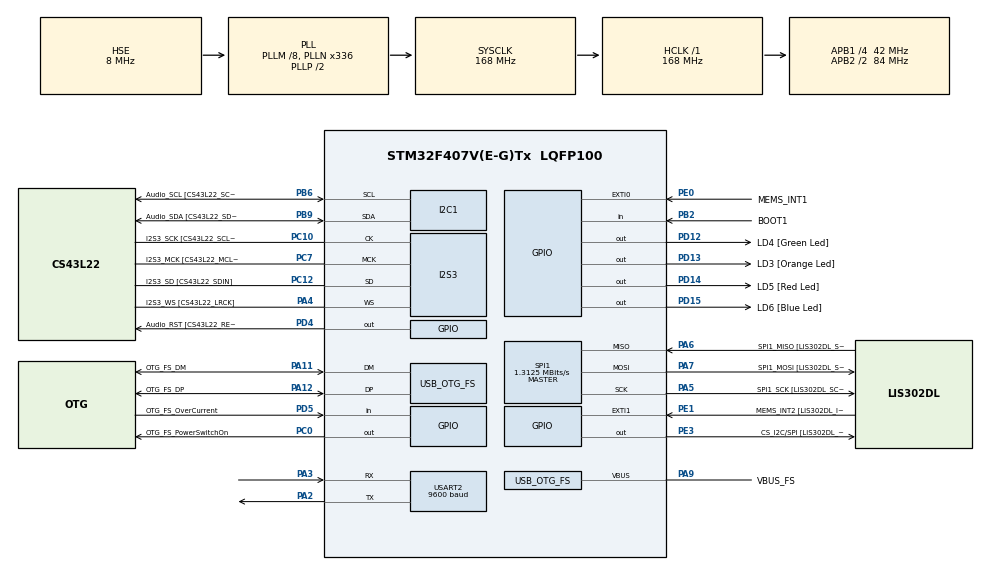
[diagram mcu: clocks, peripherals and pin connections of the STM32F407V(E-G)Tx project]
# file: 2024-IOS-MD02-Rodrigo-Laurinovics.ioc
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Dma.Request0=USART2_RX
Dma.USART2_RX.0.Direction=DMA_PERIPH_TO_MEMORY
Dma.USART2_RX.0.FIFOMode=DMA_FIFOMODE_DISABLE
Dma.USART2_RX.0.Instance=DMA1_Stream5
Dma.USART2_RX.0.MemDataAlignment=DMA_MDATAALIGN_BYTE
Dma.USART2_RX.0.MemInc=DMA_MINC_ENABLE
Dma.USART2_RX.0.Mode=DMA_NORMAL
Dma.USART2_RX.0.PeriphDataAlignment=DMA_PDATAALIGN_BYTE
Dma.USART2_RX.0.PeriphInc=DMA_PINC_DISABLE
Dma.USART2_RX.0.Priority=DMA_PRIORITY_LOW
FREERTOS.Queues01=LIS3DSH_DataScaled,3,LIS3DSH_DataScaled,0,Dynamic,NULL,NULL;LIS3DSH_ProcessedData,3,LIS3DSH_DataScaled,0,Dynamic,NULL,NULL;RTC_Data,3,My_RTC_Data,0,Dynamic,NULL,NULL;CMD_ProcData,3,Command,0,Dynamic,NULL,NULL
FREERTOS.Tasks01=myUserMsg,24,512,MY_User_Message,Default,NULL,Dynamic,NULL,NULL;myRTCTime,8,128,MY_RTC_Time,Default,NULL,Dynamic,NULL,NULL;myGetAccData,8,128,MY_Get_Acc_Data,Default,NULL,Dynamic,NULL,NULL;myIntTask,8,128,my_Int_Task,Default,NULL,Dynamic,NULL,NULL;myfreeRTOSManager,8,128,MY_freeRTOS_Task_Manager,Default,NULL,Dynamic,NULL,NULL;myProcessAccData,8,2096,MY_Process_AccData,Default,NULL,Dynamic,NULL,NULL;myProcessCMD,8,128,MY_Process_CMD,Default,NULL,Dynamic,NULL,NULL
FREERTOS.configGENERATE_RUN_TIME_STATS=1
FREERTOS.configMAX_TASK_NAME_LEN=32
FREERTOS.configTICK_RATE_HZ=1000
FREERTOS.configUSE_IDLE_HOOK=1
FREERTOS.configUSE_NEWLIB_REENTRANT=1
FREERTOS.configUSE_STATS_FORMATTING_FUNCTIONS=1
I2S3.AudioFreq-Half_Duplex_Master=I2S_AUDIOFREQ_96K
I2S3.ErrorAudioFreq=-2.34 %
I2S3.ErrorAudioFreq-Half_Duplex_Master=0.8 %
I2S3.FullDuplexMode=I2S_FULLDUPLEXMODE_DISABLE
I2S3.Instance=SPI$Index
I2S3.RealAudioFreq=93.75 KHz
I2S3.RealAudioFreq-Half_Duplex_Master=96.774 KHz
I2S3.VirtualMode=I2S_MODE_MASTER
Mcu.Family=STM32F4
Mcu.Name=STM32F407V(E-G)Tx
Mcu.Package=LQFP100
NVIC.DMA1_Stream5_IRQn=true\:5\:0\:false\:false\:true\:true\:false\:true\:true
NVIC.EXTI0_IRQn=true\:5\:0\:false\:false\:true\:false\:true\:true\:true
NVIC.OTG_FS_IRQn=true\:5\:0\:false\:false\:true\:true\:true\:true\:true
NVIC.PriorityGroup=NVIC_PRIORITYGROUP_4
NVIC.TIM2_IRQn=true\:5\:0\:false\:false\:true\:true\:true\:true\:true
NVIC.TIM3_IRQn=true\:5\:0\:false\:false\:true\:true\:true\:true\:true
NVIC.TIM6_DAC_IRQn=true\:15\:0\:false\:false\:true\:false\:false\:true\:true
NVIC.TimeBase=TIM6_DAC_IRQn
NVIC.TimeBaseIP=TIM6
NVIC.USART2_IRQn=true\:5\:0\:false\:false\:true\:true\:true\:true\:true
PA10.GPIO_Label=OTG_FS_ID
PA10.GPIO_Mode=GPIO_MODE_AF_PP
PA10.GPIO_PuPd=GPIO_NOPULL
PA10.GPIO_Speed=GPIO_SPEED_FREQ_LOW
PA10.Signal=USB_OTG_FS_ID
PA11.GPIO_Label=OTG_FS_DM
PA11.GPIO_Mode=GPIO_MODE_AF_PP
PA11.GPIO_PuPd=GPIO_NOPULL
PA11.GPIO_Speed=GPIO_SPEED_FREQ_LOW
PA11.Mode=Host_Only
PA11.Signal=USB_OTG_FS_DM
PA12.GPIO_Label=OTG_FS_DP
PA12.GPIO_Mode=GPIO_MODE_AF_PP
PA12.GPIO_PuPd=GPIO_NOPULL
PA12.GPIO_Speed=GPIO_SPEED_FREQ_LOW
PA12.Mode=Host_Only
PA12.Signal=USB_OTG_FS_DP
PA13.GPIO_Label=SWDIO
PA13.Mode=Serial_Wire
PA13.Signal=SYS_JTMS-SWDIO
PA14.GPIO_Label=SWCLK
PA14.Mode=Serial_Wire
PA14.Signal=SYS_JTCK-SWCLK
PA2.Mode=Asynchronous
PA2.Signal=USART2_TX
PA3.Mode=Asynchronous
PA3.Signal=USART2_RX
PA4.GPIO_Label=I2S3_WS [CS43L22_LRCK]
PA4.GPIO_Mode=GPIO_MODE_AF_PP
PA4.GPIO_PuPd=GPIO_NOPULL
PA4.GPIO_Speed=GPIO_SPEED_FREQ_LOW
PA4.Mode=Half_Duplex_Master
PA4.Signal=I2S3_WS
PA5.GPIO_Label=SPI1_SCK [LIS302DL_SCL/SPC]
PA5.GPIO_Mode=GPIO_MODE_AF_PP
PA5.GPIO_PuPd=GPIO_NOPULL
PA5.GPIO_Speed=GPIO_SPEED_FREQ_LOW
PA5.Mode=Full_Duplex_Master
PA5.Signal=SPI1_SCK
PA6.GPIO_Label=SPI1_MISO [LIS302DL_SDO]
PA6.GPIO_Mode=GPIO_MODE_AF_PP
PA6.GPIO_PuPd=GPIO_NOPULL
PA6.GPIO_Speed=GPIO_SPEED_FREQ_LOW
PA6.Mode=Full_Duplex_Master
PA6.Signal=SPI1_MISO
PA7.GPIO_Label=SPI1_MOSI [LIS302DL_SDA/SDI/SDO]
PA7.GPIO_Mode=GPIO_MODE_AF_PP
PA7.GPIO_PuPd=GPIO_NOPULL
PA7.GPIO_Speed=GPIO_SPEED_FREQ_LOW
PA7.Mode=Full_Duplex_Master
PA7.Signal=SPI1_MOSI
PA9.GPIO_Label=VBUS_FS
PA9.GPIO_Mode=GPIO_MODE_INPUT
PA9.GPIO_PuPd=GPIO_NOPULL
PA9.Mode=Activate_VBUS
PA9.Signal=USB_OTG_FS_VBUS
PB10.GPIO_Label=CLK_IN [MP45DT02_CLK]
PB10.GPIO_Mode=GPIO_MODE_AF_PP
PB10.GPIO_PuPd=GPIO_NOPULL
PB10.GPIO_Speed=GPIO_SPEED_FREQ_LOW
PB10.Signal=I2S2_CK
PB2.GPIO_Label=BOOT1
PB2.GPIO_Mode=GPIO_MODE_INPUT
PB2.GPIO_PuPd=GPIO_NOPULL
PB2.Signal=GPIO_Input
PB3.GPIO_Label=SWO
PB3.Signal=SYS_JTDO-SWO
PB6.GPIO_Label=Audio_SCL [CS43L22_SCL]
PB6.GPIO_Mode=GPIO_MODE_AF_OD
PB6.GPIO_Pu=GPIO_PULLUP
PB6.GPIO_PuPd=GPIO_NOPULL
PB6.GPIO_Speed=GPIO_SPEED_FREQ_LOW
PB6.Mode=I2C
PB6.Signal=I2C1_SCL
PB9.GPIO_Label=Audio_SDA [CS43L22_SDA]
PB9.GPIO_Mode=GPIO_MODE_AF_OD
PB9.GPIO_Pu=GPIO_PULLUP
PB9.GPIO_PuPd=GPIO_NOPULL
PB9.GPIO_Speed=GPIO_SPEED_FREQ_LOW
PB9.Mode=I2C
PB9.Signal=I2C1_SDA
PC0.GPIO_Label=OTG_FS_PowerSwitchOn
PC0.GPIO_PuPd=GPIO_NOPULL
PC0.GPIO_Speed=GPIO_SPEED_FREQ_LOW
PC0.PinState=GPIO_PIN_SET
PC0.Signal=GPIO_Output
PC10.GPIO_Label=I2S3_SCK [CS43L22_SCLK]
PC10.GPIO_Mode=GPIO_MODE_AF_PP
PC10.GPIO_PuPd=GPIO_NOPULL
PC10.GPIO_Speed=GPIO_SPEED_FREQ_LOW
PC10.Mode=Half_Duplex_Master
PC10.Signal=I2S3_CK
PC12.GPIO_Label=I2S3_SD [CS43L22_SDIN]
PC12.GPIO_Mode=GPIO_MODE_AF_PP
PC12.GPIO_PuPd=GPIO_NOPULL
PC12.GPIO_Speed=GPIO_SPEED_FREQ_LOW
PC12.Mode=Half_Duplex_Master
PC12.Signal=I2S3_SD
PC14-OSC32_IN.GPIO_Label=PC14-OSC32_IN
PC14-OSC32_IN.Mode=LSE-External-Oscillator
PC14-OSC32_IN.Signal=RCC_OSC32_IN
PC15-OSC32_OUT.GPIO_Label=PC15-OSC32_OUT
PC15-OSC32_OUT.Mode=LSE-External-Oscillator
PC15-OSC32_OUT.Signal=RCC_OSC32_OUT
PC3.GPIO_Label=PDM_OUT [MP45DT02_DOUT]
PC3.GPIO_Mode=GPIO_MODE_AF_PP
PC3.GPIO_PuPd=GPIO_NOPULL
PC3.GPIO_Speed=GPIO_SPEED_FREQ_LOW
PC3.Signal=I2S2_SD
PC7.GPIO_Label=I2S3_MCK [CS43L22_MCLK]
PC7.GPIO_Mode=GPIO_MODE_AF_PP
PC7.GPIO_PuPd=GPIO_NOPULL
PC7.GPIO_Speed=GPIO_SPEED_FREQ_LOW
PC7.Mode=Master_Clock_Activated
PC7.Signal=I2S3_MCK
PD12.GPIO_Label=LD4 [Green Led]
PD12.GPIO_PuPd=GPIO_NOPULL
PD12.GPIO_Speed=GPIO_SPEED_FREQ_LOW
PD12.Signal=GPIO_Output
PD13.GPIO_Label=LD3 [Orange Led]
PD13.GPIO_PuPd=GPIO_NOPULL
PD13.GPIO_Speed=GPIO_SPEED_FREQ_LOW
PD13.Signal=GPIO_Output
PD14.GPIO_Label=LD5 [Red Led]
PD14.GPIO_PuPd=GPIO_NOPULL
PD14.GPIO_Speed=GPIO_SPEED_FREQ_LOW
PD14.Signal=GPIO_Output
PD15.GPIO_Label=LD6 [Blue Led]
PD15.GPIO_PuPd=GPIO_NOPULL
PD15.GPIO_Speed=GPIO_SPEED_FREQ_LOW
PD15.Signal=GPIO_Output
PD4.GPIO_Label=Audio_RST [CS43L22_RESET]
PD4.GPIO_PuPd=GPIO_NOPULL
PD4.GPIO_Speed=GPIO_SPEED_FREQ_LOW
PD4.Signal=GPIO_Output
PD5.GPIO_Label=OTG_FS_OverCurrent
PD5.GPIO_Mode=GPIO_MODE_INPUT
PD5.GPIO_PuPd=GPIO_NOPULL
PD5.Signal=GPIO_Input
PE0.GPIO_Label=MEMS_INT1
PE0.Signal=GPXTI0
PE1.GPIO_Label=MEMS_INT2 [LIS302DL_INT2]
PE1.GPIO_ModeDefaultEXTI=GPIO_MODE_EVT_RISING
PE1.GPIO_PuPd=GPIO_NOPULL
PE1.Signal=GPXTI1
PE3.GPIO_Label=CS_I2C/SPI [LIS302DL_CS_I2C/SPI]
PE3.GPIO_PuPd=GPIO_NOPULL
PE3.GPIO_Speed=GPIO_SPEED_FREQ_LOW
PE3.Signal=GPIO_Output
PH0-OSC_IN.GPIO_Label=PH0-OSC_IN
PH0-OSC_IN.Mode=HSE-External-Oscillator
PH0-OSC_IN.Signal=RCC_OSC_IN
PH1-OSC_OUT.GPIO_Label=PH1-OSC_OUT
PH1-OSC_OUT.Mode=HSE-External-Oscillator
PH1-OSC_OUT.Signal=RCC_OSC_OUT
ProjectManager.HeapSize=0x200
ProjectManager.StackSize=0x400
ProjectManager.TargetToolchain=STM32CubeIDE
RCC.48MHZClocksFreq_Value=48000000
RCC.AHBFreq_Value=168000000
RCC.APB1CLKDivider=RCC_HCLK_DIV4
RCC.APB1Freq_Value=42000000
RCC.APB1TimFreq_Value=84000000
RCC.APB2CLKDivider=RCC_HCLK_DIV2
RCC.APB2Freq_Value=84000000
RCC.APB2TimFreq_Value=168000000
RCC.CortexFreq_Value=168000000
RCC.HCLKFreq_Value=168000000
RCC.HSE_VALUE=8000000
RCC.HSI_VALUE=16000000
RCC.PLLM=8
RCC.PLLN=336
RCC.PLLQ=7
RCC.SYSCLKFreq_VALUE=168000000
RCC.SYSCLKSource=RCC_SYSCLKSOURCE_PLLCLK
RCC.VCOOutputFreq_Value=336000000
SPI1.BaudRatePrescaler=SPI_BAUDRATEPRESCALER_64
SPI1.BaudRatePrescaler-Full_Duplex_Master=SPI_BAUDRATEPRESCALER_2
SPI1.CalculateBaudRate=1.3125 MBits/s
SPI1.CalculateBaudRate-Full_Duplex_Master=42.0 MBits/s
SPI1.Direction=SPI_DIRECTION_2LINES
SPI1.Mode=SPI_MODE_MASTER
SPI1.Mode-Full_Duplex_Master=SPI_MODE_MASTER
SPI1.VirtualType=VM_MASTER
TIM2.Period=50000
TIM2.Prescaler=8400
TIM3.Period=100
TIM3.Prescaler=84
TIM4.Period=50000
TIM4.Prescaler=8400
USART2.BaudRate=9600
USART2.VirtualMode=VM_ASYNC
USB_HOST.BSP.number=1
USB_HOST.USBH_HandleTypeDef-CDC_FS=hUsbHostFS
USB_HOST.VirtualModeFS=Cdc
USB_HOST0.BSP.STBoard=false
USB_HOST0.BSP.api=Unknown
USB_HOST0.BSP.instance=PC0
USB_HOST0.BSP.ip=GPIO
USB_HOST0.BSP.mode=Output
USB_HOST0.BSP.name=Drive_VBUS_FS
USB_HOST0.BSP.solution=PC0
USB_OTG_FS.VirtualMode=Host_Only
USB_OTG_FS.phy_itface=HCD_PHY_EMBEDDED
VP_FREERTOS_VS_CMSIS_V2.Mode=CMSIS_V2
VP_RTC_VS_RTC_Activate.Mode=RTC_Enabled
VP_SYS_VS_tim6.Mode=TIM6
VP_TIM2_VS_ClockSourceINT.Mode=Internal
VP_TIM3_VS_ClockSourceINT.Mode=Internal
VP_TIM4_VS_ClockSourceINT.Mode=Internal
VP_USB_HOST_VS_USB_HOST_CDC_FS.Mode=CDC_FS
board=STM32F407G-DISC1

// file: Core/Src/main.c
/* USER CODE BEGIN Header */
/**
  ******************************************************************************
  * @file           : main.c
  * @brief          : Main program body
  ******************************************************************************
  * @attention
  *
  * Copyright (c) 2024 STMicroelectronics.
  * All rights reserved.
  *
  * This software is licensed under terms that can be found in the LICENSE file
  * in the root directory of this software component.
  * If no LICENSE file comes with this software, it is provided AS-IS.
  *
  ******************************************************************************
  */
/* USER CODE END Header */
#include "main.h"
#include "cmsis_os.h"
#include "usb_host.h"

/* USER CODE BEGIN Includes */
#include "LIS3DSH.h"
#include <stdio.h>
#include <math.h>
/* USER CODE END Includes */

/* USER CODE BEGIN PD */
#define flag_msg_user 		(0x00)
#define flag_msg_rtc 		(0x01)
#define flag_msg_acc		(0x02)

//#define RXBUFF_SIZE 512
//#define MAINBUFF_SIZE 2048
#define RXBUFF_SIZE 11

#define sampling_rate 1600 / 8
/* USER CODE END PD */

I2C_HandleTypeDef hi2c1;

I2S_HandleTypeDef hi2s3;

RTC_HandleTypeDef hrtc;

SPI_HandleTypeDef hspi1;

TIM_HandleTypeDef htim2;
TIM_HandleTypeDef htim3;
TIM_HandleTypeDef htim4;

UART_HandleTypeDef huart2;
DMA_HandleTypeDef hdma_usart2_rx;

/* Definitions for myUserMsg */
osThreadId_t myUserMsgHandle;
const osThreadAttr_t myUserMsg_attributes = {
  .name = "myUserMsg",
  .stack_size = 512 * 4,
  .priority = (osPriority_t) osPriorityNormal,
};
/* Definitions for myRTCTime */
osThreadId_t myRTCTimeHandle;
const osThreadAttr_t myRTCTime_attributes = {
  .name = "myRTCTime",
  .stack_size = 128 * 4,
  .priority = (osPriority_t) osPriorityLow,
};
/* Definitions for myGetAccData */
osThreadId_t myGetAccDataHandle;
const osThreadAttr_t myGetAccData_attributes = {
  .name = "myGetAccData",
  .stack_size = 128 * 4,
  .priority = (osPriority_t) osPriorityLow,
};
/* Definitions for myIntTask */
osThreadId_t myIntTaskHandle;
const osThreadAttr_t myIntTask_attributes = {
  .name = "myIntTask",
  .stack_size = 128 * 4,
  .priority = (osPriority_t) osPriorityLow,
};
/* Definitions for myfreeRTOSManager */
osThreadId_t myfreeRTOSManagerHandle;
const osThreadAttr_t myfreeRTOSManager_attributes = {
  .name = "myfreeRTOSManager",
  .stack_size = 128 * 4,
  .priority = (osPriority_t) osPriorityLow,
};
/* Definitions for myProcessAccData */
osThreadId_t myProcessAccDataHandle;
const osThreadAttr_t myProcessAccData_attributes = {
  .name = "myProcessAccData",
  .stack_size = 2096 * 4,
  .priority = (osPriority_t) osPriorityLow,
};
/* Definitions for myProcessCMD */
osThreadId_t myProcessCMDHandle;
const osThreadAttr_t myProcessCMD_attributes = {
  .name = "myProcessCMD",
  .stack_size = 128 * 4,
  .priority = (osPriority_t) osPriorityLow,
};
/* Definitions for LIS3DSH_DataScaled */
osMessageQueueId_t LIS3DSH_DataScaledHandle;
const osMessageQueueAttr_t LIS3DSH_DataScaled_attributes = {
  .name = "LIS3DSH_DataScaled"
};
/* Definitions for LIS3DSH_ProcessedData */
osMessageQueueId_t LIS3DSH_ProcessedDataHandle;
const osMessageQueueAttr_t LIS3DSH_ProcessedData_attributes = {
  .name = "LIS3DSH_ProcessedData"
};
/* Definitions for RTC_Data */
osMessageQueueId_t RTC_DataHandle;
const osMessageQueueAttr_t RTC_Data_attributes = {
  .name = "RTC_Data"
};
/* Definitions for CMD_ProcData */
osMessageQueueId_t CMD_ProcDataHandle;
const osMessageQueueAttr_t CMD_ProcData_attributes = {
  .name = "CMD_ProcData"
};

void SystemClock_Config(void);
static void MX_GPIO_Init(void);
static void MX_DMA_Init(void);
static void MX_I2C1_Init(void);
static void MX_I2S3_Init(void);
static void MX_SPI1_Init(void);
static void MX_USART2_UART_Init(void);
static void MX_RTC_Init(void);
static void MX_TIM3_Init(void);
static void MX_TIM4_Init(void);
static void MX_TIM2_Init(void);
void MY_User_Message(void *argument);
void MY_RTC_Time(void *argument);
void MY_Get_Acc_Data(void *argument);
void my_Int_Task(void *argument);
void MY_freeRTOS_Task_Manager(void *argument);
void MY_Process_AccData(void *argument);
void MY_Process_CMD(void *argument);

/* USER CODE BEGIN 0 */
volatile unsigned long ulHighFrequencyTimerTicks;

struct My_TaskManager{
	volatile int freemem;
	char taskListBuffer [1024];
	char taskTimingBuffer [1024];
};

struct My_TaskManager task_manager;

//RTC_DateTypeDef sDate;
//RTC_TimeTypeDef sTime;

typedef struct {
	RTC_DateTypeDef sDate;
	RTC_TimeTypeDef sTime;
}My_RTC_Data;

uint8_t flag = flag_msg_user;

LIS3DSH_DataScaled g_myLIS3DSH;
LIS3DSH_DataScaled sg_myLIS3DSH;

uint8_t Rx_Buf[RXBUFF_SIZE];
uint16_t oldPos, newPos = 0;
uint8_t msg_buffer[1024] = {0};
uint32_t packet_counter = 0;

typedef struct {
	uint8_t cmd_id[3];
    uint8_t cmd_data[6];
} Command;

/* USER CODE END 0 */

int main(void)
{

  /* MCU Configuration--------------------------------------------------------*/

  /* Reset of all peripherals, Initializes the Flash interface and the Systick. */
  HAL_Init();

  /* Configure the system clock */
  SystemClock_Config();

  /* Initialize all configured peripherals */
  MX_GPIO_Init();
  MX_DMA_Init();
  MX_I2C1_Init();
  MX_I2S3_Init();
  MX_SPI1_Init();
  MX_USART2_UART_Init();
  MX_RTC_Init();
  MX_TIM3_Init();
  MX_TIM4_Init();
  MX_TIM2_Init();
  /* USER CODE BEGIN 2 */
  HAL_TIM_Base_Start_IT(&htim2);
  HAL_TIM_Base_Start_IT(&htim3);
  HAL_TIM_Base_Start_IT(&htim4);
  HAL_UARTEx_ReceiveToIdle_DMA(&huart2, Rx_Buf, RXBUFF_SIZE);
  __HAL_DMA_DISABLE_IT(&hdma_usart2_rx, DMA_IT_HT);
  /* USER CODE END 2 */

  /* Init scheduler */
  osKernelInitialize();

  /* Create the queue(s) */
  /* creation of LIS3DSH_DataScaled */
  LIS3DSH_DataScaledHandle = osMessageQueueNew (3, sizeof(LIS3DSH_DataScaled), &LIS3DSH_DataScaled_attributes);

  /* creation of LIS3DSH_ProcessedData */
  LIS3DSH_ProcessedDataHandle = osMessageQueueNew (3, sizeof(LIS3DSH_DataScaled), &LIS3DSH_ProcessedData_attributes);

  /* creation of RTC_Data */
  RTC_DataHandle = osMessageQueueNew (3, sizeof(My_RTC_Data), &RTC_Data_attributes);

  /* creation of CMD_ProcData */
  CMD_ProcDataHandle = osMessageQueueNew (3, sizeof(Command), &CMD_ProcData_attributes);

  /* Create the thread(s) */
  /* creation of myUserMsg */
  myUserMsgHandle = osThreadNew(MY_User_Message, NULL, &myUserMsg_attributes);

  /* creation of myRTCTime */
  myRTCTimeHandle = osThreadNew(MY_RTC_Time, NULL, &myRTCTime_attributes);

  /* creation of myGetAccData */
  myGetAccDataHandle = osThreadNew(MY_Get_Acc_Data, NULL, &myGetAccData_attributes);

  /* creation of myIntTask */
  myIntTaskHandle = osThreadNew(my_Int_Task, NULL, &myIntTask_attributes);

  /* creation of myfreeRTOSManager */
  myfreeRTOSManagerHandle = osThreadNew(MY_freeRTOS_Task_Manager, NULL, &myfreeRTOSManager_attributes);

  /* creation of myProcessAccData */
  myProcessAccDataHandle = osThreadNew(MY_Process_AccData, NULL, &myProcessAccData_attributes);

  /* creation of myProcessCMD */
  myProcessCMDHandle = osThreadNew(MY_Process_CMD, NULL, &myProcessCMD_attributes);

  /* Start scheduler */
  osKernelStart();

  /* We should never get here as control is now taken by the scheduler */

  /* Infinite loop */
  while (1)
  {

  }
}

void SystemClock_Config(void)
{
  RCC_OscInitTypeDef RCC_OscInitStruct = {0};
  RCC_ClkInitTypeDef RCC_ClkInitStruct = {0};

  /** Configure the main internal regulator output voltage
  */
  __HAL_RCC_PWR_CLK_ENABLE();
  __HAL_PWR_VOLTAGESCALING_CONFIG(PWR_REGULATOR_VOLTAGE_SCALE1);

  /** Initializes the RCC Oscillators according to the specified parameters
  * in the RCC_OscInitTypeDef structure.
  */
  RCC_OscInitStruct.OscillatorType = RCC_OSCILLATORTYPE_LSI|RCC_OSCILLATORTYPE_HSE;
  RCC_OscInitStruct.HSEState = RCC_HSE_ON;
  RCC_OscInitStruct.LSIState = RCC_LSI_ON;
  RCC_OscInitStruct.PLL.PLLState = RCC_PLL_ON;
  RCC_OscInitStruct.PLL.PLLSource = RCC_PLLSOURCE_HSE;
  RCC_OscInitStruct.PLL.PLLM = 8;
  RCC_OscInitStruct.PLL.PLLN = 336;
  RCC_OscInitStruct.PLL.PLLP = RCC_PLLP_DIV2;
  RCC_OscInitStruct.PLL.PLLQ = 7;
  if (HAL_RCC_OscConfig(&RCC_OscInitStruct) != HAL_OK)
  {
    Error_Handler();
  }

  /** Initializes the CPU, AHB and APB buses clocks
  */
  RCC_ClkInitStruct.ClockType = RCC_CLOCKTYPE_HCLK|RCC_CLOCKTYPE_SYSCLK
                              |RCC_CLOCKTYPE_PCLK1|RCC_CLOCKTYPE_PCLK2;
  RCC_ClkInitStruct.SYSCLKSource = RCC_SYSCLKSOURCE_PLLCLK;
  RCC_ClkInitStruct.AHBCLKDivider = RCC_SYSCLK_DIV1;
  RCC_ClkInitStruct.APB1CLKDivider = RCC_HCLK_DIV4;
  RCC_ClkInitStruct.APB2CLKDivider = RCC_HCLK_DIV2;

  if (HAL_RCC_ClockConfig(&RCC_ClkInitStruct, FLASH_LATENCY_5) != HAL_OK)
  {
    Error_Handler();
  }
}

static void MX_I2C1_Init(void)
{

  hi2c1.Instance = I2C1;
  hi2c1.Init.ClockSpeed = 100000;
  hi2c1.Init.DutyCycle = I2C_DUTYCYCLE_2;
  hi2c1.Init.OwnAddress1 = 0;
  hi2c1.Init.AddressingMode = I2C_ADDRESSINGMODE_7BIT;
  hi2c1.Init.DualAddressMode = I2C_DUALADDRESS_DISABLE;
  hi2c1.Init.OwnAddress2 = 0;
  hi2c1.Init.GeneralCallMode = I2C_GENERALCALL_DISABLE;
  hi2c1.Init.NoStretchMode = I2C_NOSTRETCH_DISABLE;
  if (HAL_I2C_Init(&hi2c1) != HAL_OK)
  {
    Error_Handler();
  }

}

static void MX_I2S3_Init(void)
{

  hi2s3.Instance = SPI3;
  hi2s3.Init.Mode = I2S_MODE_MASTER_TX;
  hi2s3.Init.Standard = I2S_STANDARD_PHILIPS;
  hi2s3.Init.DataFormat = I2S_DATAFORMAT_16B;
  hi2s3.Init.MCLKOutput = I2S_MCLKOUTPUT_ENABLE;
  hi2s3.Init.AudioFreq = I2S_AUDIOFREQ_96K;
  hi2s3.Init.CPOL = I2S_CPOL_LOW;
  hi2s3.Init.ClockSource = I2S_CLOCK_PLL;
  hi2s3.Init.FullDuplexMode = I2S_FULLDUPLEXMODE_DISABLE;
  if (HAL_I2S_Init(&hi2s3) != HAL_OK)
  {
    Error_Handler();
  }

}

static void MX_RTC_Init(void)
{

  /** Initialize RTC Only
  */
  hrtc.Instance = RTC;
  hrtc.Init.HourFormat = RTC_HOURFORMAT_24;
  hrtc.Init.AsynchPrediv = 127;
  hrtc.Init.SynchPrediv = 255;
  hrtc.Init.OutPut = RTC_OUTPUT_DISABLE;
  hrtc.Init.OutPutPolarity = RTC_OUTPUT_POLARITY_HIGH;
  hrtc.Init.OutPutType = RTC_OUTPUT_TYPE_OPENDRAIN;
  if (HAL_RTC_Init(&hrtc) != HAL_OK)
  {
    Error_Handler();
  }

}

static void MX_SPI1_Init(void)
{

  /* SPI1 parameter configuration*/
  hspi1.Instance = SPI1;
  hspi1.Init.Mode = SPI_MODE_MASTER;
  hspi1.Init.Direction = SPI_DIRECTION_2LINES;
  hspi1.Init.DataSize = SPI_DATASIZE_8BIT;
  hspi1.Init.CLKPolarity = SPI_POLARITY_LOW;
  hspi1.Init.CLKPhase = SPI_PHASE_1EDGE;
  hspi1.Init.NSS = SPI_NSS_SOFT;
  hspi1.Init.BaudRatePrescaler = SPI_BAUDRATEPRESCALER_64;
  hspi1.Init.FirstBit = SPI_FIRSTBIT_MSB;
  hspi1.Init.TIMode = SPI_TIMODE_DISABLE;
  hspi1.Init.CRCCalculation = SPI_CRCCALCULATION_DISABLE;
  hspi1.Init.CRCPolynomial = 10;
  if (HAL_SPI_Init(&hspi1) != HAL_OK)
  {
    Error_Handler();
  }

}

static void MX_TIM2_Init(void)
{

  TIM_ClockConfigTypeDef sClockSourceConfig = {0};
  TIM_MasterConfigTypeDef sMasterConfig = {0};

  htim2.Instance = TIM2;
  htim2.Init.Prescaler = 8400;
  htim2.Init.CounterMode = TIM_COUNTERMODE_UP;
  htim2.Init.Period = 50000;
  htim2.Init.ClockDivision = TIM_CLOCKDIVISION_DIV1;
  htim2.Init.AutoReloadPreload = TIM_AUTORELOAD_PRELOAD_DISABLE;
  if (HAL_TIM_Base_Init(&htim2) != HAL_OK)
  {
    Error_Handler();
  }
  sClockSourceConfig.ClockSource = TIM_CLOCKSOURCE_INTERNAL;
  if (HAL_TIM_ConfigClockSource(&htim2, &sClockSourceConfig) != HAL_OK)
  {
    Error_Handler();
  }
  sMasterConfig.MasterOutputTrigger = TIM_TRGO_RESET;
  sMasterConfig.MasterSlaveMode = TIM_MASTERSLAVEMODE_DISABLE;
  if (HAL_TIMEx_MasterConfigSynchronization(&htim2, &sMasterConfig) != HAL_OK)
  {
    Error_Handler();
  }

}

static void MX_TIM3_Init(void)
{

  TIM_ClockConfigTypeDef sClockSourceConfig = {0};
  TIM_MasterConfigTypeDef sMasterConfig = {0};

  htim3.Instance = TIM3;
  htim3.Init.Prescaler = 84;
  htim3.Init.CounterMode = TIM_COUNTERMODE_UP;
  htim3.Init.Period = 100;
  htim3.Init.ClockDivision = TIM_CLOCKDIVISION_DIV1;
  htim3.Init.AutoReloadPreload = TIM_AUTORELOAD_PRELOAD_DISABLE;
  if (HAL_TIM_Base_Init(&htim3) != HAL_OK)
  {
    Error_Handler();
  }
  sClockSourceConfig.ClockSource = TIM_CLOCKSOURCE_INTERNAL;
  if (HAL_TIM_ConfigClockSource(&htim3, &sClockSourceConfig) != HAL_OK)
  {
    Error_Handler();
  }
  sMasterConfig.MasterOutputTrigger = TIM_TRGO_RESET;
  sMasterConfig.MasterSlaveMode = TIM_MASTERSLAVEMODE_DISABLE;
  if (HAL_TIMEx_MasterConfigSynchronization(&htim3, &sMasterConfig) != HAL_OK)
  {
    Error_Handler();
  }

}

static void MX_TIM4_Init(void)
{

  TIM_ClockConfigTypeDef sClockSourceConfig = {0};
  TIM_MasterConfigTypeDef sMasterConfig = {0};

  htim4.Instance = TIM4;
  htim4.Init.Prescaler = 8400;
  htim4.Init.CounterMode = TIM_COUNTERMODE_UP;
  htim4.Init.Period = 50000;
  htim4.Init.ClockDivision = TIM_CLOCKDIVISION_DIV1;
  htim4.Init.AutoReloadPreload = TIM_AUTORELOAD_PRELOAD_DISABLE;
  if (HAL_TIM_Base_Init(&htim4) != HAL_OK)
  {
    Error_Handler();
  }
  sClockSourceConfig.ClockSource = TIM_CLOCKSOURCE_INTERNAL;
  if (HAL_TIM_ConfigClockSource(&htim4, &sClockSourceConfig) != HAL_OK)
  {
    Error_Handler();
  }
  sMasterConfig.MasterOutputTrigger = TIM_TRGO_RESET;
  sMasterConfig.MasterSlaveMode = TIM_MASTERSLAVEMODE_DISABLE;
  if (HAL_TIMEx_MasterConfigSynchronization(&htim4, &sMasterConfig) != HAL_OK)
  {
    Error_Handler();
  }

}

static void MX_USART2_UART_Init(void)
{

  huart2.Instance = USART2;
  huart2.Init.BaudRate = 9600;
  huart2.Init.WordLength = UART_WORDLENGTH_8B;
  huart2.Init.StopBits = UART_STOPBITS_1;
  huart2.Init.Parity = UART_PARITY_NONE;
  huart2.Init.Mode = UART_MODE_TX_RX;
  huart2.Init.HwFlowCtl = UART_HWCONTROL_NONE;
  huart2.Init.OverSampling = UART_OVERSAMPLING_16;
  if (HAL_UART_Init(&huart2) != HAL_OK)
  {
    Error_Handler();
  }

}

static void MX_DMA_Init(void)
{

  /* DMA controller clock enable */
  __HAL_RCC_DMA1_CLK_ENABLE();

  /* DMA interrupt init */
  /* DMA1_Stream5_IRQn interrupt configuration */
  HAL_NVIC_SetPriority(DMA1_Stream5_IRQn, 5, 0);
  HAL_NVIC_EnableIRQ(DMA1_Stream5_IRQn);

}

static void MX_GPIO_Init(void)
{
  GPIO_InitTypeDef GPIO_InitStruct = {0};

  /* GPIO Ports Clock Enable */
  __HAL_RCC_GPIOE_CLK_ENABLE();
  __HAL_RCC_GPIOC_CLK_ENABLE();
  __HAL_RCC_GPIOH_CLK_ENABLE();
  __HAL_RCC_GPIOA_CLK_ENABLE();
  __HAL_RCC_GPIOB_CLK_ENABLE();
  __HAL_RCC_GPIOD_CLK_ENABLE();

  /*Configure GPIO pin Output Level */
  HAL_GPIO_WritePin(CS_I2C_SPI_GPIO_Port, CS_I2C_SPI_Pin, GPIO_PIN_RESET);

  /*Configure GPIO pin Output Level */
  HAL_GPIO_WritePin(OTG_FS_PowerSwitchOn_GPIO_Port, OTG_FS_PowerSwitchOn_Pin, GPIO_PIN_SET);

  /*Configure GPIO pin Output Level */
  HAL_GPIO_WritePin(GPIOD, LD4_Pin|LD3_Pin|LD5_Pin|LD6_Pin
                          |Audio_RST_Pin, GPIO_PIN_RESET);

  /*Configure GPIO pin : CS_I2C_SPI_Pin */
  GPIO_InitStruct.Pin = CS_I2C_SPI_Pin;
  GPIO_InitStruct.Mode = GPIO_MODE_OUTPUT_PP;
  GPIO_InitStruct.Pull = GPIO_NOPULL;
  GPIO_InitStruct.Speed = GPIO_SPEED_FREQ_LOW;
  HAL_GPIO_Init(CS_I2C_SPI_GPIO_Port, &GPIO_InitStruct);

  /*Configure GPIO pin : OTG_FS_PowerSwitchOn_Pin */
  GPIO_InitStruct.Pin = OTG_FS_PowerSwitchOn_Pin;
  GPIO_InitStruct.Mode = GPIO_MODE_OUTPUT_PP;
  GPIO_InitStruct.Pull = GPIO_NOPULL;
  GPIO_InitStruct.Speed = GPIO_SPEED_FREQ_LOW;
  HAL_GPIO_Init(OTG_FS_PowerSwitchOn_GPIO_Port, &GPIO_InitStruct);

  /*Configure GPIO pin : PDM_OUT_Pin */
  GPIO_InitStruct.Pin = PDM_OUT_Pin;
  GPIO_InitStruct.Mode = GPIO_MODE_AF_PP;
  GPIO_InitStruct.Pull = GPIO_NOPULL;
  GPIO_InitStruct.Speed = GPIO_SPEED_FREQ_LOW;
  GPIO_InitStruct.Alternate = GPIO_AF5_SPI2;
  HAL_GPIO_Init(PDM_OUT_GPIO_Port, &GPIO_InitStruct);

  /*Configure GPIO pin : BOOT1_Pin */
  GPIO_InitStruct.Pin = BOOT1_Pin;
  GPIO_InitStruct.Mode = GPIO_MODE_INPUT;
  GPIO_InitStruct.Pull = GPIO_NOPULL;
  HAL_GPIO_Init(BOOT1_GPIO_Port, &GPIO_InitStruct);

  /*Configure GPIO pin : CLK_IN_Pin */
  GPIO_InitStruct.Pin = CLK_IN_Pin;
  GPIO_InitStruct.Mode = GPIO_MODE_AF_PP;
  GPIO_InitStruct.Pull = GPIO_NOPULL;
  GPIO_InitStruct.Speed = GPIO_SPEED_FREQ_LOW;
  GPIO_InitStruct.Alternate = GPIO_AF5_SPI2;
  HAL_GPIO_Init(CLK_IN_GPIO_Port, &GPIO_InitStruct);

  /*Configure GPIO pins : LD4_Pin LD3_Pin LD5_Pin LD6_Pin
                           Audio_RST_Pin */
  GPIO_InitStruct.Pin = LD4_Pin|LD3_Pin|LD5_Pin|LD6_Pin
                          |Audio_RST_Pin;
  GPIO_InitStruct.Mode = GPIO_MODE_OUTPUT_PP;
  GPIO_InitStruct.Pull = GPIO_NOPULL;
  GPIO_InitStruct.Speed = GPIO_SPEED_FREQ_LOW;
  HAL_GPIO_Init(GPIOD, &GPIO_InitStruct);

  /*Configure GPIO pin : OTG_FS_OverCurrent_Pin */
  GPIO_InitStruct.Pin = OTG_FS_OverCurrent_Pin;
  GPIO_InitStruct.Mode = GPIO_MODE_INPUT;
  GPIO_InitStruct.Pull = GPIO_NOPULL;
  HAL_GPIO_Init(OTG_FS_OverCurrent_GPIO_Port, &GPIO_InitStruct);

  /*Configure GPIO pin : MEMS_INT1_Pin */
  GPIO_InitStruct.Pin = MEMS_INT1_Pin;
  GPIO_InitStruct.Mode = GPIO_MODE_IT_RISING;
  GPIO_InitStruct.Pull = GPIO_NOPULL;
  HAL_GPIO_Init(MEMS_INT1_GPIO_Port, &GPIO_InitStruct);

  /*Configure GPIO pin : MEMS_INT2_Pin */
  GPIO_InitStruct.Pin = MEMS_INT2_Pin;
  GPIO_InitStruct.Mode = GPIO_MODE_EVT_RISING;
  GPIO_InitStruct.Pull = GPIO_NOPULL;
  HAL_GPIO_Init(MEMS_INT2_GPIO_Port, &GPIO_InitStruct);

  /* EXTI interrupt init*/
  HAL_NVIC_SetPriority(EXTI0_IRQn, 5, 0);
  HAL_NVIC_EnableIRQ(EXTI0_IRQn);

}

/* USER CODE BEGIN 4 */
void HAL_GPIO_EXTI_Callback(uint16_t GPIO_Pin){
	if(GPIO_Pin == MEMS_INT1_Pin){
		osThreadFlagsSet(myGetAccDataHandle, 0x0001);
		HAL_GPIO_TogglePin(LD3_GPIO_Port, LD3_Pin);
	}
}

int __io_putchar(int ch) {
    ITM_SendChar(ch);
    return ch;
}

void HAL_UARTEx_RxEventCallback(UART_HandleTypeDef *huart, uint16_t Size){
	if (huart->Instance == USART2) {
		osThreadFlagsSet(myProcessCMDHandle, 0x0001);
		HAL_GPIO_TogglePin(LD5_GPIO_Port, LD5_Pin);
		HAL_UARTEx_ReceiveToIdle_DMA(&huart2, (uint8_t *) Rx_Buf, RXBUFF_SIZE);
		__HAL_DMA_DISABLE_IT(&hdma_usart2_rx, DMA_IT_HT);
	}
}
/** ----------------------------------------------------------------------------------------------
* @brief
* This function calculates the pitch and roll angles based on the accelerometer readings.
*
* @param
* ax: Accelerometer reading along the X-axis.
* ay: Accelerometer reading along the Y-axis.
* az: Accelerometer reading along the Z-axis.
* @param
* pitch: Pointer to a variable where the calculated pitch angle will be stored.
* roll: Pointer to a variable where the calculated roll angle will be stored.
*
* @returns
* This function does not return a value directly, but it updates the values pointed to by 'pitch' and 'roll'
* with the calculated pitch and roll angles, respectively.
*/
void calculate_pitch_roll(float ax, float ay, float az, float *pitch, float *roll) {
//	float norm = sqrt(ax*ax + ay*ay + az*az);
//	ax /= norm;
//	ay /= norm;
//	az /= norm;
    *pitch = atan2(ax, sqrt(ay*ay + az*az));
    *roll = atan2(-ay, sqrt(ax*ax + az*az));

    *pitch = *pitch * 180.0 / M_PI;
    *roll = *roll * 180.0 / M_PI;
}
/** ----------------------------------------------------------------------------------------------
* @brief
* This function applies a moving average filter to the input accelerometer data and returns the filtered data.
*
* @param
* myLIS3DSH: The input accelerometer data to be filtered.
* mov_avg: A 2D array representing the moving average buffer for each axis (x, y, z).
* fill: A pointer to a variable indicating the current fill level of the moving average buffer.
*
* @returns
* Returns the filtered accelerometer data scaled to the LIS3DSH_DataScaled structure.
*/
LIS3DSH_DataScaled moving_average_filter(LIS3DSH_DataScaled myLIS3DSH, float mov_avg[3][sampling_rate], uint16_t* fill) {
    double avg[3] = {0};
    LIS3DSH_DataScaled LIS3DSH;

    if (*fill >= sampling_rate)
        *fill = 0;

    mov_avg[0][*fill] = myLIS3DSH.x;
    mov_avg[1][*fill] = myLIS3DSH.y;
    mov_avg[2][*fill] = myLIS3DSH.z;

    for (uint16_t i = 0; i < sampling_rate; i++) {
        for (uint8_t j = 0; j < 3; j++) {
            avg[j] += mov_avg[j][i];
        }
    }

    LIS3DSH.x = avg[0] / sampling_rate;
	LIS3DSH.y = avg[1] / sampling_rate;
	LIS3DSH.z = avg[2] / sampling_rate;

    (*fill)++;

    return LIS3DSH;
}
/** ----------------------------------------------------------------------------------------------
* @brief
* Checks and parses a command received via UART from a buffer.
*
* @param
* rx_buf: Pointer to the buffer containing the received command.
*
* @returns
* Returns a Command structure representing the parsed command. If the received command
* meets the expected format, the parsed command is returned with its components filled accordingly.
* Otherwise, a default Command structure with "UN" as cmd_id and "KNOWN" as cmd_data is returned,
* and the rx_buf is cleared.
*/
Command check_command_from_uart(uint8_t *rx_buf){
	Command cmd = {0};
	if ((rx_buf[0] == '<') && (rx_buf[9] == '>') && (rx_buf[3] == ' ')) {
		memcpy(cmd.cmd_id, &rx_buf[1], 2);
		memcpy(cmd.cmd_data, &rx_buf[4], 5);
	} else {
		memcpy(cmd.cmd_id, "UN", 2);
		memcpy(cmd.cmd_data, "KNOWN", 5);
		memset(rx_buf, 0, RXBUFF_SIZE);
	}
	return cmd;
}
/* USER CODE END 4 */

void MY_User_Message(void *argument)
{
  /* init code for USB_HOST */
  MX_USB_HOST_Init();
  /* USER CODE BEGIN 5 */
  LIS3DSH_DataScaled myLIS3DSH;
  My_RTC_Data RTC_data;
  My_RTC_Data RTC_time_to_set;
  Command cmd;
  size_t size = 0;
  /* Infinite loop */
  for(;;)
  {
    osMessageQueueGet(LIS3DSH_ProcessedDataHandle, &myLIS3DSH, NULL, osWaitForever);
	osMessageQueueGet(RTC_DataHandle, &RTC_data, NULL, osWaitForever);
	osMessageQueueGet(CMD_ProcDataHandle, &cmd, NULL, osWaitForever);
	if(strcmp((char *)cmd.cmd_id, "RO") == 0) {
		if(strcmp((char *)cmd.cmd_data, "ACCEL") == 0){
			size = sprintf ((char *)msg_buffer, "Time: %02d-%02d-%02d %02d:%02d:%02d\nPitch: %f\nRoll: %f\n", RTC_data.sDate.Date, RTC_data.sDate.Month, RTC_data.sDate.Year, RTC_data.sTime.Hours, RTC_data.sTime.Minutes, RTC_data.sTime.Seconds, myLIS3DSH.pitch, myLIS3DSH.roll);
			HAL_UART_Transmit(&huart2, msg_buffer, size, 2000);
			printf("%s", msg_buffer);
		} else if(strcmp((char *)cmd.cmd_data, "RAWAC") == 0) {
			size = sprintf ((char *)msg_buffer, "Time: %02d-%02d-%02d %02d:%02d:%02d\nRaw x: %f\nRaw y: %f\nRaw z: %f\n", RTC_data.sDate.Date, RTC_data.sDate.Month, RTC_data.sDate.Year, RTC_data.sTime.Hours, RTC_data.sTime.Minutes, RTC_data.sTime.Seconds, myLIS3DSH.x, myLIS3DSH.y, myLIS3DSH.z);
			HAL_UART_Transmit(&huart2, msg_buffer, size, 2000);
			printf("%s", msg_buffer);
		} else if(strcmp((char *)cmd.cmd_data, "RTCDA") == 0) {
			size = sprintf ((char *)msg_buffer, "%02d-%02d-20%02d\n", RTC_data.sDate.Date, RTC_data.sDate.Month, RTC_data.sDate.Year);
			HAL_UART_Transmit(&huart2, msg_buffer, size, 2000);
			printf("%s", msg_buffer);
		} else if(strcmp((char *)cmd.cmd_data, "RTCTI") == 0) {
			size = sprintf ((char *)msg_buffer, "%02d:%02d:%02d\n", RTC_data.sTime.Hours, RTC_data.sTime.Minutes, RTC_data.sTime.Seconds);
			HAL_UART_Transmit(&huart2, msg_buffer, size, 2000);
			printf("%s", msg_buffer);
		} else if(strcmp((char *)cmd.cmd_data, "RTCHO") == 0) {
			size = sprintf ((char *)msg_buffer, "%02d-%02d-20%02d %02d:%02d:%02d\n",RTC_data.sDate.Date, RTC_data.sDate.Month, RTC_data.sDate.Year, RTC_data.sTime.Hours, RTC_data.sTime.Minutes, RTC_data.sTime.Seconds);
			HAL_UART_Transmit(&huart2, msg_buffer, size, 2000);
			printf("%s", msg_buffer);
		} else if(strcmp((char *)cmd.cmd_data, "-HELP") == 0) {
			size = sprintf ((char *)msg_buffer, "Available read commands\nRTCDA - get DD/MM/YY\nRTCTI - get HH/MM/SS\nRTCHO - get both time and date\nACCEL - get boards angles relative to sensors measurement\n");
			HAL_UART_Transmit(&huart2, msg_buffer, size, 2000);
			printf("%s", msg_buffer);
		} else {
			size = sprintf ((char *)msg_buffer, "Unknown read command. Available command can view with -HELP \nCMD_DATA: %s\n", (char *) cmd.cmd_data);
			HAL_UART_Transmit(&huart2, msg_buffer, size, 2000);
			printf("%s", msg_buffer);
		}
	} else if(strcmp((char *)cmd.cmd_id, "WO") == 0) {
		if(cmd.cmd_data[0] == 'T' && cmd.cmd_data[1] == 'S' && cmd.cmd_data[2] == ':'){
			cmd.cmd_data[3] = (cmd.cmd_data[3] - '0') * 10;
			cmd.cmd_data[4] = cmd.cmd_data[4] - '0' + cmd.cmd_data[3];
			if(cmd.cmd_data[4] <= 60 && cmd.cmd_data[4] >= 0)
				RTC_time_to_set.sTime.Seconds = ((cmd.cmd_data[4] / 10) << 4) | (cmd.cmd_data[4] % 10);
		} else if(cmd.cmd_data[0] == 'T' && cmd.cmd_data[1] == 'M' && cmd.cmd_data[2] == ':') {
			cmd.cmd_data[3] = (cmd.cmd_data[3] - '0') * 10;
			cmd.cmd_data[4] = cmd.cmd_data[4] - '0' + cmd.cmd_data[3];
			if(cmd.cmd_data[4] <= 60 && cmd.cmd_data[4] >= 0)
				RTC_time_to_set.sTime.Minutes = ((cmd.cmd_data[4] / 10) << 4) | (cmd.cmd_data[4] % 10);
		} else if(cmd.cmd_data[0] == 'T' && cmd.cmd_data[1] == 'H' && cmd.cmd_data[2] == ':') {
			cmd.cmd_data[3] = (cmd.cmd_data[3] - '0') * 10;
			cmd.cmd_data[4] = cmd.cmd_data[4] - '0' + cmd.cmd_data[3];
			if(cmd.cmd_data[4] <= 24 && cmd.cmd_data[4] >= 0)
				RTC_time_to_set.sTime.Hours = ((cmd.cmd_data[4] / 10) << 4) | (cmd.cmd_data[3] + cmd.cmd_data[4] % 10);
		} else if(cmd.cmd_data[0] == 'D' && cmd.cmd_data[1] == 'D' && cmd.cmd_data[2] == ':'){
			cmd.cmd_data[3] = (cmd.cmd_data[3] - '0') * 10;
			cmd.cmd_data[4] = cmd.cmd_data[4] - '0' + cmd.cmd_data[3];
			if(cmd.cmd_data[4] <= 31 && cmd.cmd_data[4] >= 0)
				RTC_time_to_set.sDate.Date = ((cmd.cmd_data[4] / 10) << 4) | (cmd.cmd_data[4] % 10);
		} else if(cmd.cmd_data[0] == 'D' && cmd.cmd_data[1] == 'M' && cmd.cmd_data[2] == ':') {
			cmd.cmd_data[3] = (cmd.cmd_data[3] - '0') * 10;
			cmd.cmd_data[4] = cmd.cmd_data[4] - '0' + cmd.cmd_data[3];
			if(cmd.cmd_data[4] <= 12 && cmd.cmd_data[4] >= 0)
				RTC_time_to_set.sDate.Month = ((cmd.cmd_data[4] / 10) << 4) | (cmd.cmd_data[4] % 10);
		} else if(cmd.cmd_data[0] == 'D' && cmd.cmd_data[1] == 'W' && cmd.cmd_data[2] == ':') {
			cmd.cmd_data[3] = (cmd.cmd_data[3] - '0') * 10;
			cmd.cmd_data[4] = cmd.cmd_data[4] - '0' + cmd.cmd_data[3];
			if(cmd.cmd_data[4] <= 7 && cmd.cmd_data[4] >= 0)
				RTC_time_to_set.sDate.WeekDay = ((cmd.cmd_data[4] / 10) << 4) | (cmd.cmd_data[4] % 10);
		}else if(cmd.cmd_data[0] == 'D' && cmd.cmd_data[1] == 'Y' && cmd.cmd_data[2] == ':') {
			cmd.cmd_data[3] = (cmd.cmd_data[3] - '0') * 10;
			cmd.cmd_data[4] = cmd.cmd_data[4] - '0' + cmd.cmd_data[3];
			if(cmd.cmd_data[4] <= 100 && cmd.cmd_data[4] >= 0)
				RTC_time_to_set.sDate.Year = ((cmd.cmd_data[4] / 10) << 4) | (cmd.cmd_data[4] % 10);
		} else if(strcmp((char *)cmd.cmd_data, "TCONF") == 0) {
			HAL_RTC_SetDate(&hrtc, &RTC_time_to_set.sDate, RTC_FORMAT_BCD);
			HAL_RTC_SetTime(&hrtc, &RTC_time_to_set.sTime, RTC_FORMAT_BCD);
		} else if(strcmp((char *)cmd.cmd_data, "-HELP") == 0) {
			size = sprintf ((char *)msg_buffer, "Available write commands\nSETDA - set DD/MM/YY\nSETTI - set HH/MM/SS\nSETHO - set both time and date\n");
			HAL_UART_Transmit(&huart2, msg_buffer, size, 2000);
			printf("%s", msg_buffer);
		} else {
			size = sprintf ((char *)msg_buffer, "Unknown write command. Available command can view with -HELP \nCMD_DATA: %s\n", (char *) cmd.cmd_data);
			HAL_UART_Transmit(&huart2, msg_buffer, size, 2000);
			printf("%s", msg_buffer);
		}
	} else {
		size = sprintf ((char *)msg_buffer, "Unknown command.\nCMD ID: %s\nCMD_DATA: %s\n", (char *)cmd.cmd_id, (char *) cmd.cmd_data);
		HAL_UART_Transmit(&huart2, msg_buffer, size, 2000);
		printf("%s", msg_buffer);
	}

  }
  /* USER CODE END 5 */
}

void MY_RTC_Time(void *argument)
{
  /* USER CODE BEGIN MY_RTC_Time */
  My_RTC_Data RTC_data;
  /* Infinite loop */
  for(;;)
  {
	osThreadFlagsWait(0x0001, osFlagsWaitAll, osWaitForever);
	HAL_RTC_GetTime(&hrtc, &RTC_data.sTime, RTC_FORMAT_BCD);
	RTC_data.sTime.Hours = ((RTC_data.sTime.Hours & 0xF0) >> 4) * 10 + (RTC_data.sTime.Hours & 0x0F);
	RTC_data.sTime.Minutes = ((RTC_data.sTime.Minutes & 0xF0) >> 4) * 10 + (RTC_data.sTime.Minutes & 0x0F);
	RTC_data.sTime.Seconds = ((RTC_data.sTime.Seconds & 0xF0) >> 4) * 10 + (RTC_data.sTime.Seconds & 0x0F);
	HAL_RTC_GetDate(&hrtc, &RTC_data.sDate, RTC_FORMAT_BCD);
	RTC_data.sDate.Year = ((RTC_data.sDate.Year & 0xF0) >> 4) * 10 + (RTC_data.sDate.Year & 0x0F);
	RTC_data.sDate.Month = ((RTC_data.sDate.Month & 0xF0) >> 4) * 10 + (RTC_data.sDate.Month & 0x0F);
	RTC_data.sDate.Date = ((RTC_data.sDate.Date & 0xF0) >> 4) * 10 + (RTC_data.sDate.Date & 0x0F);
	osMessageQueuePut(RTC_DataHandle, &RTC_data, 10, 1);
  }
  /* USER CODE END MY_RTC_Time */
}

void MY_Get_Acc_Data(void *argument)
{
  /* USER CODE BEGIN MY_Get_Acc_Data */
	LIS3DSH_InitTypeDef MY_LIS3DSH_Configuration;
	MY_LIS3DSH_Configuration.dataRate = LIS3DSH_DATARATE_1600;
	MY_LIS3DSH_Configuration.fullScale = LIS3DSH_FULLSCALE_4;
	MY_LIS3DSH_Configuration.antiAliasingBW = LIS3DSH_FILTER_BW_50;
	MY_LIS3DSH_Configuration.enableAxes = LIS3DSH_XYZ_ENABLE;
	MY_LIS3DSH_Configuration.interruptEnable = true;
	LIS3DSH_Init(&hspi1, &MY_LIS3DSH_Configuration);
	LIS3DSH_DataScaled myLIS3DSH;
  /* Infinite loop */
  for(;;)
  {
	  osThreadFlagsWait(0x0001, osFlagsWaitAll, osWaitForever);
	  myLIS3DSH = LIS3DSH_GetDataScaled();
	  g_myLIS3DSH = myLIS3DSH;
	  osMessageQueuePut(LIS3DSH_DataScaledHandle, &myLIS3DSH, 10, 1);
  }
  /* USER CODE END MY_Get_Acc_Data */
}

void my_Int_Task(void *argument)
{
  /* USER CODE BEGIN my_Int_Task */
  /* Infinite loop */
  for(;;)
  {
	  vTaskSuspend(NULL);
//	  if(++flag > 2)
//			flag = 0;
//		while(HAL_GPIO_ReadPin(B1_GPIO_Port, B1_Pin)){
//			osDelay(50);
//		}
  }
  /* USER CODE END my_Int_Task */
}

void MY_freeRTOS_Task_Manager(void *argument)
{
  /* USER CODE BEGIN MY_freeRTOS_Task_Manager */
  /* Infinite loop */
  for(;;)
  {
	  task_manager.freemem = xPortGetFreeHeapSize();
	  vTaskList(task_manager.taskListBuffer);
	  vTaskGetRunTimeStats(task_manager.taskTimingBuffer);
	  osDelay(1000);
  }
  /* USER CODE END MY_freeRTOS_Task_Manager */
}

void MY_Process_AccData(void *argument)
{
  /* USER CODE BEGIN MY_Process_AccData */
	LIS3DSH_DataScaled myLIS3DSH;
	LIS3DSH_DataScaled myLIS3DSH_after_filter;
	uint16_t fill = 0;
	uint8_t fill_buff = 0;
	float moving_avg[3][sampling_rate] = {{0}};
  /* Infinite loop */
  for(;;)
  {
	osMessageQueueGet(LIS3DSH_DataScaledHandle, &myLIS3DSH, NULL, osWaitForever);
	if(fill < sampling_rate && fill_buff == 0){
		moving_avg[0][fill] = myLIS3DSH.x;
		moving_avg[1][fill] = myLIS3DSH.y;
		moving_avg[2][fill] = myLIS3DSH.z;
		fill++;
		if(fill == sampling_rate)
			fill_buff = 1;
	} else {
		myLIS3DSH_after_filter = moving_average_filter(myLIS3DSH, moving_avg, &fill);
		sg_myLIS3DSH = myLIS3DSH_after_filter;
		calculate_pitch_roll(myLIS3DSH_after_filter.x, myLIS3DSH_after_filter.y , myLIS3DSH_after_filter.z, &myLIS3DSH_after_filter.pitch, &myLIS3DSH_after_filter.roll);
		osMessageQueuePut(LIS3DSH_ProcessedDataHandle, &myLIS3DSH_after_filter, 10, 1);
	}
  }
  /* USER CODE END MY_Process_AccData */
}

void MY_Process_CMD(void *argument)
{
  /* USER CODE BEGIN MY_Process_CMD */
	Command cmd;
  /* Infinite loop */
  for(;;)
  {
	osThreadFlagsWait(0x0001, osFlagsWaitAll, osWaitForever);
	cmd = check_command_from_uart(Rx_Buf);
	if (strcmp((char *)cmd.cmd_id, "UN") != 0 && strcmp((char *)cmd.cmd_data, "KNOWN") != 0) {
		osMessageQueuePut(CMD_ProcDataHandle, &cmd, 10, 1);
	}
  }
  /* USER CODE END MY_Process_CMD */
}

void HAL_TIM_PeriodElapsedCallback(TIM_HandleTypeDef *htim)
{
  /* USER CODE BEGIN Callback 0 */
	if(htim->Instance == TIM3){
		ulHighFrequencyTimerTicks++;
	}
	if(htim->Instance == TIM2){
		osThreadFlagsSet(myRTCTimeHandle, 0x0001);
		HAL_GPIO_TogglePin(LD4_GPIO_Port, LD4_Pin);
	}
  /* USER CODE END Callback 0 */
  if (htim->Instance == TIM6) {
    HAL_IncTick();
  }
}

void Error_Handler(void)
{
  __disable_irq();
  while (1)
  {
  }
}

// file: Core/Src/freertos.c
/* USER CODE BEGIN Header */
/**
  ******************************************************************************
  * File Name          : freertos.c
  * Description        : Code for freertos applications
  ******************************************************************************
  * @attention
  *
  * Copyright (c) 2024 STMicroelectronics.
  * All rights reserved.
  *
  * This software is licensed under terms that can be found in the LICENSE file
  * in the root directory of this software component.
  * If no LICENSE file comes with this software, it is provided AS-IS.
  *
  ******************************************************************************
  */
/* USER CODE END Header */

#include "FreeRTOS.h"
#include "task.h"
#include "main.h"

/* Hook prototypes */
void configureTimerForRunTimeStats(void);
unsigned long getRunTimeCounterValue(void);
void vApplicationIdleHook(void);

/* USER CODE BEGIN 1 */
/* Functions needed when configGENERATE_RUN_TIME_STATS is on */
__weak void configureTimerForRunTimeStats(void)
{

}

__weak unsigned long getRunTimeCounterValue(void)
{
return 0;
}
/* USER CODE END 1 */

/* USER CODE BEGIN 2 */
void vApplicationIdleHook( void )
{
   /* vApplicationIdleHook() will only be called if configUSE_IDLE_HOOK is set
   to 1 in FreeRTOSConfig.h. It will be called on each iteration of the idle
   task. It is essential that code added to this hook function never attempts
   to block in any way (for example, call xQueueReceive() with a block time
   specified, or call vTaskDelay()). If the application makes use of the
   vTaskDelete() API function (as this demo application does) then it is also
   important that vApplicationIdleHook() is permitted to return to its calling
   function, because it is the responsibility of the idle task to clean up
   memory allocated by the kernel to any task that has since been deleted. */
}
/* USER CODE END 2 */
